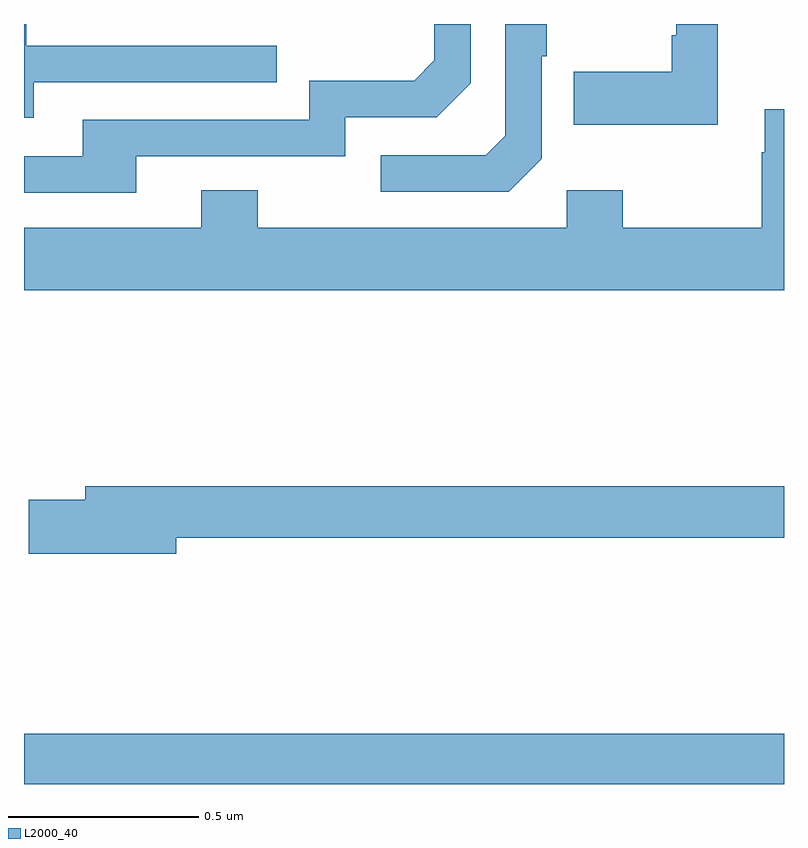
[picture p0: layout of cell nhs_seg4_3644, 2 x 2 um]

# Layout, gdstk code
import gdstk
lib = gdstk.Library(unit=1e-6, precision=1e-09)
def R(c, l, rs):  # rectangles x0, y0, x1, y1
    for r in rs: c.add(gdstk.rectangle(r[:2], r[2:], *l))
def P(c, l, *ps):  # polygons
    for p in ps: c.add(gdstk.Polygon(p, *l))
L2000_40 = (2000, 40)

nhs_seg4_3644 = lib.new_cell('nhs_seg4_3644')
R(nhs_seg4_3644, L2000_40, [(156,748.9,158,749.032)])
P(nhs_seg4_3644, L2000_40, [(157.825,750.9),(157.716,750.9),(157.716,750.871),(157.704,750.871),(157.704,750.775),(157.447,750.775),(157.447,750.635),(157.825,750.635)],
  [(156.025,750.747),(156.665,750.747),(156.665,750.843),(156.006,750.843),(156.006,750.9),(156,750.9),(156,750.653),(156.025,750.653)],
  [(157.362,750.546),(157.362,750.815),(157.375,750.815),(157.375,750.9),(157.266,750.9),(157.266,750.606),(157.215,750.555),(156.939,750.555),(156.939,750.459),(157.275,750.459)],
  [(156.295,750.552),(156.846,750.552),(156.846,750.654),(157.086,750.654),(157.176,750.744),(157.176,750.9),(157.08,750.9),(157.08,750.804),(157.027,750.751),(156.75,750.751),(156.75,750.648),(156.155,750.648),(156.155,750.552),(156,750.552),(156,750.456),(156.295,750.456)],
  [(158,750.676),(157.949,750.676),(157.949,750.563),(157.942,750.563),(157.942,750.364),(157.575,750.364),(157.575,750.463),(157.428,750.463),(157.428,750.364),(156.615,750.364),(156.615,750.463),(156.467,750.463),(156.467,750.364),(156,750.364),(156,750.2),(158,750.2)],
  [(156.4,749.548),(158,749.548),(158,749.684),(156.161,749.684),(156.161,749.648),(156.012,749.648),(156.012,749.506),(156.4,749.506)])

lib.write_gds('nhs_seg4_3644.gds')
